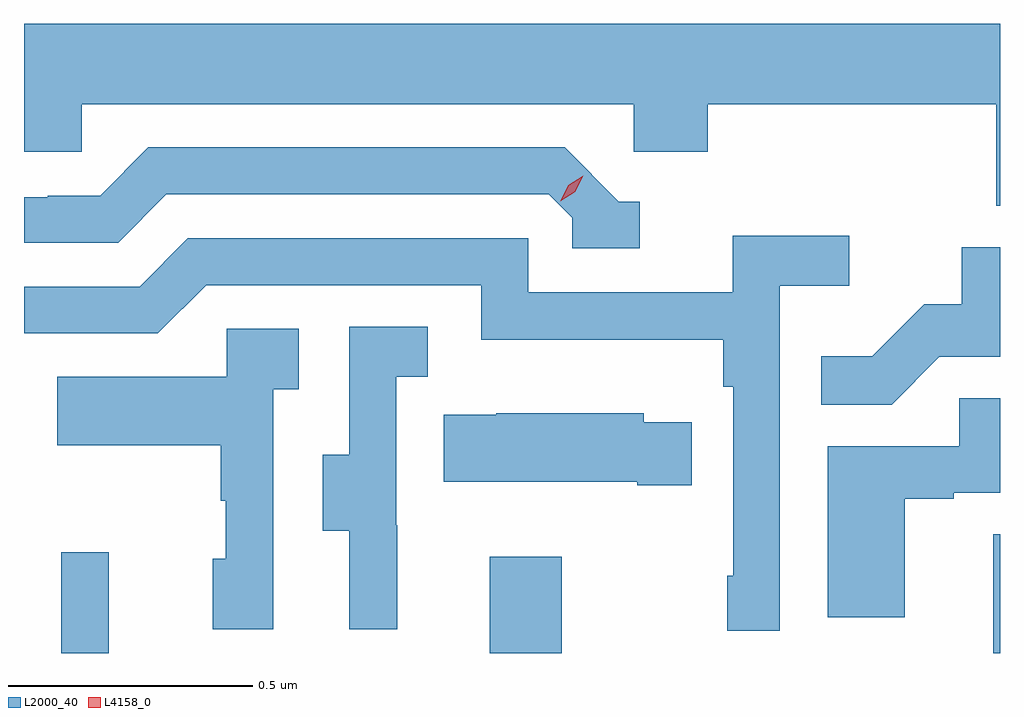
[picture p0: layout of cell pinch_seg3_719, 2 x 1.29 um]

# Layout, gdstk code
import gdstk
lib = gdstk.Library(unit=1e-6, precision=1e-09)
def R(c, l, rs):  # rectangles x0, y0, x1, y1
    for r in rs: c.add(gdstk.rectangle(r[:2], r[2:], *l))
def P(c, l, *ps):  # polygons
    for p in ps: c.add(gdstk.Polygon(p, *l))
L2000_40 = (2000, 40)
L4158_0 = (4158, 0)

pinch_seg3_719 = lib.new_cell('pinch_seg3_719')
R(pinch_seg3_719, L2000_40, [(1093.731,678.479,1093.829,678.685), (1094.609,678.479,1094.757,678.676), (1095.641,678.479,1095.655,678.722)])
P(pinch_seg3_719, L2000_40, [(1095.655,679.768),(1093.655,679.768),(1093.655,679.506),(1093.773,679.506),(1093.773,679.604),(1094.904,679.604),(1094.904,679.506),(1095.056,679.506),(1095.056,679.604),(1095.647,679.604),(1095.647,679.396),(1095.655,679.396)],
  [(1094.917,679.404),(1094.874,679.404),(1094.763,679.515),(1093.91,679.515),(1093.811,679.416),(1093.704,679.416),(1093.704,679.413),(1093.655,679.413),(1093.655,679.32),(1093.848,679.32),(1093.947,679.419),(1094.73,679.419),(1094.778,679.371),(1094.778,679.308),(1094.917,679.308)],
  [(1095.204,679.232),(1095.346,679.232),(1095.346,679.334),(1095.107,679.334),(1095.107,679.218),(1094.688,679.218),(1094.688,679.329),(1093.991,679.329),(1093.892,679.23),(1093.655,679.23),(1093.655,679.134),(1093.929,679.134),(1094.028,679.233),(1094.592,679.233),(1094.592,679.121),(1095.088,679.121),(1095.088,679.025),(1095.108,679.025),(1095.108,678.637),(1095.096,678.637),(1095.096,678.525),(1095.204,678.525)],
  [(1095.531,679.086),(1095.655,679.086),(1095.655,679.311),(1095.577,679.311),(1095.577,679.194),(1095.5,679.194),(1095.393,679.087),(1095.289,679.087),(1095.289,678.988),(1095.433,678.988)],
  [(1094.42,678.741),(1094.418,678.741),(1094.418,679.045),(1094.482,679.045),(1094.482,679.148),(1094.322,679.148),(1094.322,678.885),(1094.267,678.885),(1094.267,678.73),(1094.321,678.73),(1094.321,678.528),(1094.42,678.528)],
  [(1094.166,679.019),(1094.218,679.019),(1094.218,679.143),(1094.07,679.143),(1094.07,679.045),(1093.723,679.045),(1093.723,678.905),(1094.058,678.905),(1094.058,678.791),(1094.068,678.791),(1094.068,678.672),(1094.042,678.672),(1094.042,678.528),(1094.166,678.528)],
  [(1095.46,678.795),(1095.56,678.795),(1095.56,678.807),(1095.655,678.807),(1095.655,679.001),(1095.571,679.001),(1095.571,678.903),(1095.302,678.903),(1095.302,678.552),(1095.46,678.552)],
  [(1095.023,678.952),(1094.925,678.952),(1094.925,678.97),(1094.623,678.97),(1094.623,678.967),(1094.515,678.967),(1094.515,678.83),(1094.912,678.83),(1094.912,678.823),(1095.023,678.823)])
P(pinch_seg3_719, L4158_0, [(1094.754,679.405),(1094.754,679.405),(1094.77,679.438),(1094.801,679.457),(1094.801,679.457),(1094.801,679.457),(1094.785,679.424),(1094.754,679.405)])

lib.write_gds('pinch_seg3_719.gds')
